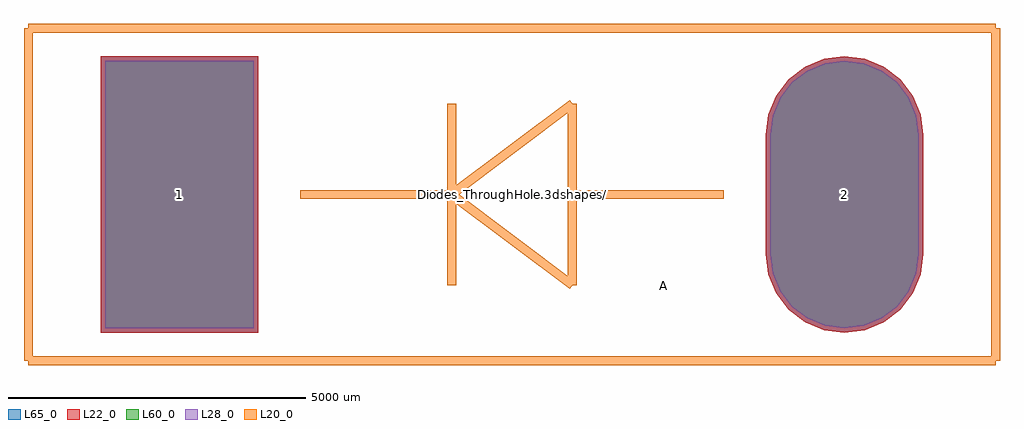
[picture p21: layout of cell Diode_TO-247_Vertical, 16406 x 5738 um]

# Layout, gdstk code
import gdstk
lib = gdstk.Library(unit=1e-6, precision=1e-09)
def R(c, l, rs):  # rectangles x0, y0, x1, y1
    for r in rs: c.add(gdstk.rectangle(r[:2], r[2:], *l))
def P(c, l, *ps):  # polygons
    for p in ps: c.add(gdstk.Polygon(p, *l))
L20_0 = (20, 0)
L22_0 = (22, 0)
L28_0 = (28, 0)
L60_0 = (60, 0)
L65_0 = (65, 0)

diode_to_247_vertical = lib.new_cell('Diode_TO-247_Vertical')
R(diode_to_247_vertical, L22_0, [(-1329.76,-2325.44,1319.6,2325.44)])
P(diode_to_247_vertical, L22_0, [(11170.92,-2325.44),(11513.772,-2280.303),(11833.26,-2147.967),(12107.61,-1937.45),(12318.127,-1663.1),(12450.463,-1343.612),(12495.6,-1000.76),(12495.6,1000.76),(12450.463,1343.612),(12318.127,1663.1),(12107.61,1937.45),(11833.26,2147.967),(11513.772,2280.303),(11170.92,2325.44),(10828.068,2280.303),(10508.58,2147.967),(10234.23,1937.45),(10023.713,1663.1),(9891.377,1343.612),(9846.24,1000.76),(9846.24,-1000.76),(9891.377,-1343.612),(10023.713,-1663.1),(10234.23,-1937.45),(10508.58,-2147.967),(10828.068,-2280.303)])
R(diode_to_247_vertical, L28_0, [(-1254.76,-2250.44,1244.6,2250.44)])
P(diode_to_247_vertical, L28_0, [(11170.92,-2250.44),(11494.361,-2207.858),(11795.76,-2083.015),(12054.577,-1884.417),(12253.175,-1625.6),(12378.018,-1324.201),(12420.6,-1000.76),(12420.6,1000.76),(12378.018,1324.201),(12253.175,1625.6),(12054.577,1884.417),(11795.76,2083.015),(11494.361,2207.858),(11170.92,2250.44),(10847.479,2207.858),(10546.08,2083.015),(10287.263,1884.417),(10088.665,1625.6),(9963.822,1324.201),(9921.24,1000.76),(9921.24,-1000.76),(9963.822,-1324.201),(10088.665,-1625.6),(10287.263,-1884.417),(10546.08,-2083.015),(10847.479,-2207.858)])
R(diode_to_247_vertical, L60_0, [(-1254.76,-2250.44,1244.6,2250.44)])
P(diode_to_247_vertical, L60_0, [(11170.92,-2250.44),(11494.361,-2207.858),(11795.76,-2083.015),(12054.577,-1884.417),(12253.175,-1625.6),(12378.018,-1324.201),(12420.6,-1000.76),(12420.6,1000.76),(12378.018,1324.201),(12253.175,1625.6),(12054.577,1884.417),(11795.76,2083.015),(11494.361,2207.858),(11170.92,2250.44),(10847.479,2207.858),(10546.08,2083.015),(10287.263,1884.417),(10088.665,1625.6),(9963.822,1324.201),(9921.24,1000.76),(9921.24,-1000.76),(9963.822,-1324.201),(10088.665,-1625.6),(10287.263,-1884.417),(10546.08,-2083.015),(10847.479,-2207.858)])
R(diode_to_247_vertical, L65_0, [(-1329.76,-2325.44,1319.6,2325.44)])
P(diode_to_247_vertical, L65_0, [(11170.92,-2325.44),(11513.772,-2280.303),(11833.26,-2147.967),(12107.61,-1937.45),(12318.127,-1663.1),(12450.463,-1343.612),(12495.6,-1000.76),(12495.6,1000.76),(12450.463,1343.612),(12318.127,1663.1),(12107.61,1937.45),(11833.26,2147.967),(11513.772,2280.303),(11170.92,2325.44),(10828.068,2280.303),(10508.58,2147.967),(10234.23,1937.45),(10023.713,1663.1),(9891.377,1343.612),(9846.24,1000.76),(9846.24,-1000.76),(9891.377,-1343.612),(10023.713,-1663.1),(10234.23,-1937.45),(10508.58,-2147.967),(10828.068,-2280.303)])
diode_to_247_vertical.add(gdstk.FlexPath([(-2545.08,-2794),(13710.92,-2794)], 149.998, ends="flush", simple_path=True, layer=20, datatype=0))  # L20_0
diode_to_247_vertical.add(gdstk.FlexPath([(-2545.08,2794),(-2545.08,-2794)], 149.998, ends="flush", simple_path=True, layer=20, datatype=0))  # L20_0
diode_to_247_vertical.add(gdstk.FlexPath([(13710.92,2794),(-2545.08,2794)], 149.998, ends="flush", simple_path=True, layer=20, datatype=0))  # L20_0
diode_to_247_vertical.add(gdstk.FlexPath([(13710.92,-2794),(13710.92,2794)], 149.998, ends="flush", simple_path=True, layer=20, datatype=0))  # L20_0
diode_to_247_vertical.add(gdstk.FlexPath([(4566.92,1524),(4566.92,-1524)], 149.998, ends="flush", simple_path=True, layer=20, datatype=0))  # L20_0
diode_to_247_vertical.add(gdstk.FlexPath([(6598.92,-1524),(4566.92,0)], 149.998, ends="flush", simple_path=True, layer=20, datatype=0))  # L20_0
diode_to_247_vertical.add(gdstk.FlexPath([(6598.92,1524),(6598.92,-1524)], 149.998, ends="flush", simple_path=True, layer=20, datatype=0))  # L20_0
diode_to_247_vertical.add(gdstk.FlexPath([(4566.92,0),(6598.92,1524)], 149.998, ends="flush", simple_path=True, layer=20, datatype=0))  # L20_0
diode_to_247_vertical.add(gdstk.FlexPath([(6598.92,0),(9138.92,0)], 149.998, ends="flush", simple_path=True, layer=20, datatype=0))  # L20_0
diode_to_247_vertical.add(gdstk.FlexPath([(4566.92,0),(2026.92,0)], 149.998, ends="flush", simple_path=True, layer=20, datatype=0))  # L20_0
diode_to_247_vertical.add(gdstk.Label('Diodes_ThroughHole.3dshapes/Diode_TO-247_Vertical.wrl', (5588,0), layer=12, texttype=0))
diode_to_247_vertical.add(gdstk.Label('2', (11170.92,0), layer=28, texttype=0))
diode_to_247_vertical.add(gdstk.Label('1', (-5.08,0), layer=28, texttype=0))
diode_to_247_vertical.add(gdstk.Label('A', (8122.92,-1524), layer=9, texttype=0))
diode_to_247_vertical.add(gdstk.Label('type', (5550,-3900), layer=9, texttype=0))
diode_to_247_vertical.add(gdstk.Label('devicename', (3250,3600), layer=9, texttype=0))

lib.write_gds('Diode_TO-247_Vertical.gds')
